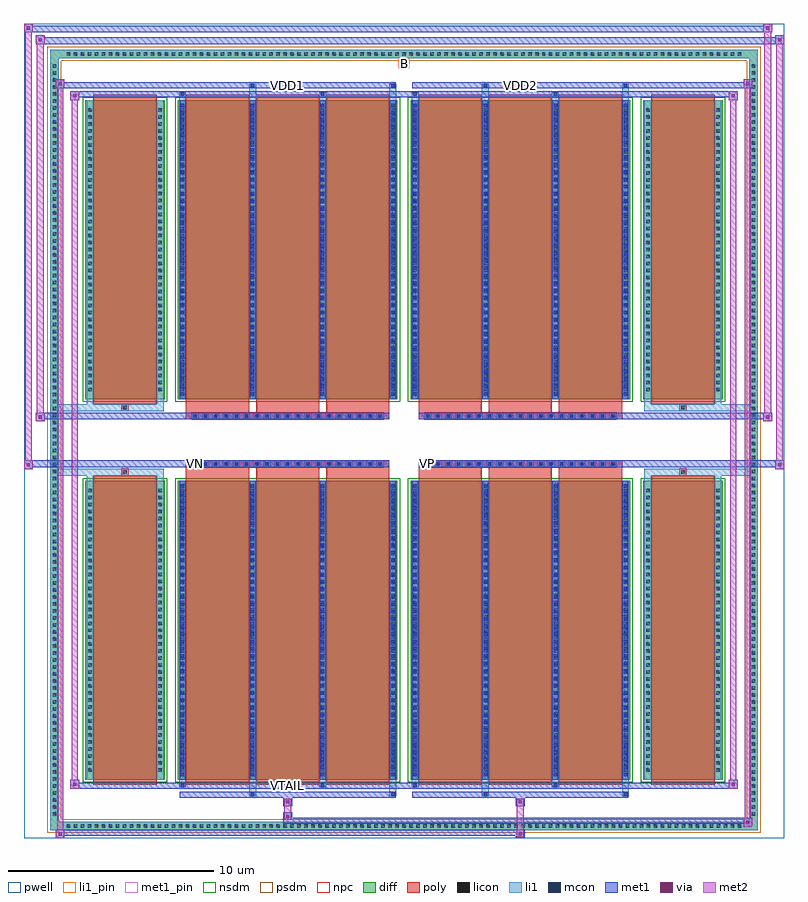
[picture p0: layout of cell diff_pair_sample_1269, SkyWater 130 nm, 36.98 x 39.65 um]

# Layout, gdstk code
import gdstk
lib = gdstk.Library(unit=1e-6, precision=5e-09)
def R(c, l, rs):  # rectangles x0, y0, x1, y1
    for r in rs: c.add(gdstk.rectangle(r[:2], r[2:], *l))
def A(c, l, x, y, w, h, nx, ny, dx, dy):  # array of equal rectangles
    R(c, l, [(x+i*dx, y+j*dy, x+i*dx+w, y+j*dy+h) for i in range(nx) for j in range(ny)])
def P(c, l, *ps):  # polygons
    for p in ps: c.add(gdstk.Polygon(p, *l))
pwell = (64, 44)
diff = (65, 20)
poly = (66, 20)
licon = (66, 44)
li1_pin = (67, 16)
li1 = (67, 20)
mcon = (67, 44)
met1_pin = (68, 16)
met1 = (68, 20)
via = (68, 44)
met2 = (69, 20)
nsdm = (93, 44)
psdm = (94, 20)
npc = (95, 20)

diff_pair_sample_1269 = lib.new_cell('diff_pair_sample_1269')
R(diff_pair_sample_1269, pwell, [(-18.49,-19.39,18.49,20.26), (-15.81,-17.58,-0.01,-0.8), (0.01,-17.58,15.81,-0.8), (-15.81,0.8,-0.01,17.58), (0.01,0.8,15.81,17.58)])
A(diff_pair_sample_1269, diff, -16.525, -18.99, 0.41, 0.41, 97, 2, 0.34, 37.57)
A(diff_pair_sample_1269, diff, -17.22, -18.395, 0.41, 0.41, 1, 108, 0, 0.34)
A(diff_pair_sample_1269, diff, 16.81, -18.395, 0.41, 0.41, 1, 108, 0, 0.34)
R(diff_pair_sample_1269, diff, [(-16.525,-18.99,16.525,-18.58), (-17.22,-18.395,-16.81,18.395), (16.81,-18.395,17.22,18.395), (-15.5,-16.535,-11.64,-1.985), (-11,-16.535,-0.32,-1.985), (0.32,-16.535,11,-1.985), (11.64,-16.535,15.5,-1.985), (-15.5,1.985,-11.64,16.535), (-11,1.985,-0.32,16.535), (0.32,1.985,11,16.535), (11.64,1.985,15.5,16.535), (-16.525,18.58,16.525,18.99)])
P(diff_pair_sample_1269, diff, [(17.22,18.99),(-17.22,18.99),(-17.22,-18.58),(-16.81,-18.58),(-16.81,18.58),(16.81,18.58),(16.81,-18.58),(-16.81,-18.58),(-17.22,-18.58),(-17.22,-18.99),(17.22,-18.99)])
A(diff_pair_sample_1269, poly, -10.61, -16.785, 3.08, 15.05, 3, 2, 3.41, 18.52)
A(diff_pair_sample_1269, poly, 0.71, -16.785, 3.08, 15.05, 3, 2, 3.41, 18.52)
A(diff_pair_sample_1269, poly, -10.61, -1.735, 3.08, 0.405, 3, 2, 3.41, 3.065)
A(diff_pair_sample_1269, poly, 0.71, -1.735, 3.08, 0.405, 3, 2, 3.41, 3.065)
A(diff_pair_sample_1269, poly, -10.325, -1.33, 0.33, 0.33, 19, 2, 0.5, 2.33)
A(diff_pair_sample_1269, poly, 0.995, -1.33, 0.33, 0.33, 19, 2, 0.5, 2.33)
R(diff_pair_sample_1269, poly, [(-15.11,-16.785,-12.03,-1.735), (12.03,-16.785,15.11,-1.735), (-13.735,-1.735,-13.405,-1.405), (-13.735,-1.735,-13.405,-1.405), (13.405,-1.735,13.735,-1.405), (13.405,-1.735,13.735,-1.405), (-10.61,-1.33,-0.71,-1), (0.71,-1.33,10.61,-1), (-10.61,1,-0.71,1.33), (0.71,1,10.61,1.33), (-13.735,1.405,-13.405,1.735), (-13.735,1.405,-13.405,1.735), (13.405,1.405,13.735,1.735), (13.405,1.405,13.735,1.735), (-15.11,1.735,-12.03,16.785), (12.03,1.735,15.11,16.785)])
A(diff_pair_sample_1269, licon, -16.405, -18.87, 0.17, 0.17, 97, 2, 0.34, 37.57)
A(diff_pair_sample_1269, licon, -17.1, -18.275, 0.17, 0.17, 1, 108, 0, 0.34)
A(diff_pair_sample_1269, licon, 16.93, -18.275, 0.17, 0.17, 1, 108, 0, 0.34)
A(diff_pair_sample_1269, licon, -15.36, -16.145, 0.17, 0.17, 1, 41, 0, 0.34)
A(diff_pair_sample_1269, licon, -11.95, -16.145, 0.17, 0.17, 1, 41, 0, 0.34)
A(diff_pair_sample_1269, licon, -10.86, -16.145, 0.17, 0.17, 4, 41, 3.41, 0.34)
A(diff_pair_sample_1269, licon, 0.46, -16.145, 0.17, 0.17, 4, 41, 3.41, 0.34)
A(diff_pair_sample_1269, licon, 11.78, -16.145, 0.17, 0.17, 1, 41, 0, 0.34)
A(diff_pair_sample_1269, licon, 15.19, -16.145, 0.17, 0.17, 1, 41, 0, 0.34)
A(diff_pair_sample_1269, licon, -10.245, -1.25, 0.17, 0.17, 19, 2, 0.5, 2.33)
A(diff_pair_sample_1269, licon, 1.075, -1.25, 0.17, 0.17, 19, 2, 0.5, 2.33)
A(diff_pair_sample_1269, licon, -15.36, 2.375, 0.17, 0.17, 1, 41, 0, 0.34)
A(diff_pair_sample_1269, licon, -11.95, 2.375, 0.17, 0.17, 1, 41, 0, 0.34)
A(diff_pair_sample_1269, licon, -10.86, 2.375, 0.17, 0.17, 4, 41, 3.41, 0.34)
A(diff_pair_sample_1269, licon, 0.46, 2.375, 0.17, 0.17, 4, 41, 3.41, 0.34)
A(diff_pair_sample_1269, licon, 11.78, 2.375, 0.17, 0.17, 1, 41, 0, 0.34)
A(diff_pair_sample_1269, licon, 15.19, 2.375, 0.17, 0.17, 1, 41, 0, 0.34)
R(diff_pair_sample_1269, licon, [(-13.655,-1.655,-13.485,-1.485), (13.485,-1.655,13.655,-1.485), (-13.655,1.485,-13.485,1.655), (13.485,1.485,13.655,1.655)])
R(diff_pair_sample_1269, li1_pin, [(-0.25,18.08,0.25,18.58)])
A(diff_pair_sample_1269, li1, -16.485, -18.95, 0.33, 0.33, 97, 2, 0.34, 37.57)
A(diff_pair_sample_1269, li1, -17.18, -18.355, 0.33, 0.33, 1, 108, 0, 0.34)
A(diff_pair_sample_1269, li1, 16.85, -18.355, 0.33, 0.33, 1, 108, 0, 0.34)
A(diff_pair_sample_1269, li1, -10.94, -16.535, 0.33, 14.55, 4, 2, 3.41, 18.52)
A(diff_pair_sample_1269, li1, 0.38, -16.535, 0.33, 14.55, 4, 2, 3.41, 18.52)
A(diff_pair_sample_1269, li1, -10.86, -16.365, 0.17, 0.17, 4, 40, 3.41, 0.36)
A(diff_pair_sample_1269, li1, -10.86, -16.365, 0.17, 14.21, 4, 2, 3.41, 18.52)
A(diff_pair_sample_1269, li1, 0.46, -16.365, 0.17, 0.17, 4, 40, 3.41, 0.36)
A(diff_pair_sample_1269, li1, 0.46, -16.365, 0.17, 14.21, 4, 2, 3.41, 18.52)
A(diff_pair_sample_1269, li1, -15.44, -16.225, 0.33, 0.33, 1, 41, 0, 0.34)
A(diff_pair_sample_1269, li1, -12.03, -16.225, 0.33, 0.33, 1, 41, 0, 0.34)
A(diff_pair_sample_1269, li1, -10.94, -16.225, 0.33, 0.33, 4, 41, 3.41, 0.34)
A(diff_pair_sample_1269, li1, 0.38, -16.225, 0.33, 0.33, 4, 41, 3.41, 0.34)
A(diff_pair_sample_1269, li1, 11.7, -16.225, 0.33, 0.33, 1, 41, 0, 0.34)
A(diff_pair_sample_1269, li1, 15.11, -16.225, 0.33, 0.33, 1, 41, 0, 0.34)
A(diff_pair_sample_1269, li1, -10.325, -1.33, 0.33, 0.33, 19, 2, 0.5, 2.33)
A(diff_pair_sample_1269, li1, 0.995, -1.33, 0.33, 0.33, 19, 2, 0.5, 2.33)
A(diff_pair_sample_1269, li1, -10.86, 2.155, 0.17, 0.17, 4, 40, 3.41, 0.36)
A(diff_pair_sample_1269, li1, 0.46, 2.155, 0.17, 0.17, 4, 40, 3.41, 0.36)
A(diff_pair_sample_1269, li1, -15.44, 2.295, 0.33, 0.33, 1, 41, 0, 0.34)
A(diff_pair_sample_1269, li1, -12.03, 2.295, 0.33, 0.33, 1, 41, 0, 0.34)
A(diff_pair_sample_1269, li1, -10.94, 2.295, 0.33, 0.33, 4, 41, 3.41, 0.34)
A(diff_pair_sample_1269, li1, 0.38, 2.295, 0.33, 0.33, 4, 41, 3.41, 0.34)
A(diff_pair_sample_1269, li1, 11.7, 2.295, 0.33, 0.33, 1, 41, 0, 0.34)
A(diff_pair_sample_1269, li1, 15.11, 2.295, 0.33, 0.33, 1, 41, 0, 0.34)
R(diff_pair_sample_1269, li1, [(-17.22,-18.99,-16.81,-18.58), (-17.22,-18.99,-16.81,-18.58), (-16.81,-18.99,16.81,-18.58), (16.81,-18.99,17.22,-18.58), (16.81,-18.99,17.22,-18.58), (-17.22,-18.58,-16.81,18.58), (16.81,-18.58,17.22,18.58), (-7.53,-17.34,-7.2,-16.535), (-7.45,-17.34,-7.28,-17.17), (-0.71,-17.34,-0.38,-16.535), (-0.63,-17.34,-0.46,-17.17), (3.79,-17.34,4.12,-16.535), (3.87,-17.34,4.04,-17.17), (10.61,-17.34,10.94,-16.535), (10.69,-17.34,10.86,-17.17), (-10.94,-16.91,-10.61,-16.535), (-10.86,-16.91,-10.69,-16.74), (-4.12,-16.91,-3.79,-16.535), (-4.04,-16.91,-3.87,-16.74), (0.38,-16.91,0.71,-16.535), (0.46,-16.91,0.63,-16.74), (7.2,-16.91,7.53,-16.535), (7.28,-16.91,7.45,-16.74), (-15.44,-16.535,-15.11,-1.985), (-12.03,-16.535,-11.7,-1.985), (11.7,-16.535,12.03,-1.985), (15.11,-16.535,15.44,-1.985), (-15.44,-1.985,-15.11,-1.405), (-12.03,-1.985,-11.7,-1.405), (11.7,-1.985,12.03,-1.405), (15.11,-1.985,15.44,-1.405), (-17.22,-1.735,-13.735,-1.405), (-15.44,-1.735,-13.735,-1.405), (-13.735,-1.735,-13.405,-1.405), (-13.405,-1.735,-11.7,-1.405), (11.7,-1.735,13.405,-1.405), (13.405,-1.735,13.735,-1.405), (13.405,-1.735,17.22,-1.405), (13.735,-1.735,15.44,-1.405), (-17.22,1.405,-13.735,1.735), (-15.44,1.405,-13.735,1.735), (-15.44,1.405,-15.11,1.985), (-13.735,1.405,-13.405,1.735), (-13.405,1.405,-11.7,1.735), (-12.03,1.405,-11.7,1.985), (11.7,1.405,13.405,1.735), (11.7,1.405,12.03,1.985), (13.405,1.405,13.735,1.735), (13.405,1.405,17.22,1.735), (13.735,1.405,15.44,1.735), (15.11,1.405,15.44,1.985), (-15.44,1.985,-15.11,16.535), (-12.03,1.985,-11.7,16.535), (11.7,1.985,12.03,16.535), (15.11,1.985,15.44,16.535), (-10.94,16.535,-10.61,16.91), (-7.53,16.535,-7.2,17.34), (-4.12,16.535,-3.79,16.91), (-0.71,16.535,-0.38,17.34), (0.38,16.535,0.71,16.91), (3.79,16.535,4.12,17.34), (7.2,16.535,7.53,16.91), (10.61,16.535,10.94,17.34), (-10.86,16.74,-10.69,16.91), (-4.04,16.74,-3.87,16.91), (0.46,16.74,0.63,16.91), (7.28,16.74,7.45,16.91), (-7.45,17.17,-7.28,17.34), (-0.63,17.17,-0.46,17.34), (3.87,17.17,4.04,17.34), (10.69,17.17,10.86,17.34), (-17.22,18.58,-16.81,18.99), (-17.22,18.58,-16.81,18.99), (-16.81,18.58,16.81,18.99), (16.81,18.58,17.22,18.99), (16.81,18.58,17.22,18.99)])
A(diff_pair_sample_1269, mcon, -10.86, -16.365, 0.17, 0.17, 4, 40, 3.41, 0.36)
A(diff_pair_sample_1269, mcon, 0.46, -16.365, 0.17, 0.17, 4, 40, 3.41, 0.36)
A(diff_pair_sample_1269, mcon, -10.245, -1.25, 0.17, 0.17, 19, 2, 0.5, 2.33)
A(diff_pair_sample_1269, mcon, 1.075, -1.25, 0.17, 0.17, 19, 2, 0.5, 2.33)
A(diff_pair_sample_1269, mcon, -10.86, 2.155, 0.17, 0.17, 4, 40, 3.41, 0.36)
A(diff_pair_sample_1269, mcon, 0.46, 2.155, 0.17, 0.17, 4, 40, 3.41, 0.36)
R(diff_pair_sample_1269, mcon, [(-7.45,-17.34,-7.28,-17.17), (-0.63,-17.34,-0.46,-17.17), (3.87,-17.34,4.04,-17.17), (10.69,-17.34,10.86,-17.17), (-10.86,-16.91,-10.69,-16.74), (-4.04,-16.91,-3.87,-16.74), (0.46,-16.91,0.63,-16.74), (7.28,-16.91,7.45,-16.74), (-10.86,16.74,-10.69,16.91), (-4.04,16.74,-3.87,16.91), (0.46,16.74,0.63,16.91), (7.28,16.74,7.45,16.91), (-7.45,17.17,-7.28,17.34), (-0.63,17.17,-0.46,17.34), (3.87,17.17,4.04,17.34), (10.69,17.17,10.86,17.34)])
R(diff_pair_sample_1269, met1_pin, [(-5.795,-16.95,-5.525,-16.68), (-10.295,-1.29,-10.025,-1.02), (1.025,-1.29,1.295,-1.02), (-5.795,17.13,-5.525,17.4), (5.525,17.13,5.795,17.4)])
A(diff_pair_sample_1269, met1, -10.92, -16.535, 0.29, 14.55, 4, 2, 3.41, 18.52)
A(diff_pair_sample_1269, met1, 0.4, -16.535, 0.29, 14.55, 4, 2, 3.41, 18.52)
A(diff_pair_sample_1269, met1, -10.92, -16.425, 0.29, 0.29, 4, 40, 3.41, 0.36)
A(diff_pair_sample_1269, met1, 0.4, -16.425, 0.29, 0.29, 4, 40, 3.41, 0.36)
A(diff_pair_sample_1269, met1, -10.305, -1.31, 0.29, 0.29, 19, 2, 0.5, 2.33)
A(diff_pair_sample_1269, met1, 1.015, -1.31, 0.29, 0.29, 19, 2, 0.5, 2.33)
A(diff_pair_sample_1269, met1, -10.92, 2.095, 0.29, 0.29, 4, 40, 3.41, 0.36)
A(diff_pair_sample_1269, met1, 0.4, 2.095, 0.29, 0.29, 4, 40, 3.41, 0.36)
R(diff_pair_sample_1269, met1, [(-16.95,-19.39,-16.52,-18.96), (5.445,-19.39,5.875,-18.96), (-16.95,-19.25,5.875,-18.96), (16.52,-18.82,16.95,-18.39), (-5.875,-18.68,16.95,-18.39), (-5.875,-18.54,-5.445,-18.11), (-5.875,-17.83,-5.445,-17.4), (5.445,-17.83,5.875,-17.4), (-10.92,-17.4,-0.4,-17.11), (-7.51,-17.4,-7.22,-17.11), (-0.69,-17.4,-0.4,-17.11), (0.4,-17.4,10.92,-17.11), (3.81,-17.4,4.1,-17.11), (10.63,-17.4,10.92,-17.11), (-16.24,-16.97,-15.81,-16.54), (-16.24,-16.97,-10.92,-16.68), (-10.92,-16.97,-10.63,-16.68), (-10.92,-16.97,-0.4,-16.68), (-4.1,-16.97,-3.81,-16.68), (-0.4,-16.97,0.4,-16.68), (0.4,-16.97,0.69,-16.68), (0.4,-16.97,10.92,-16.68), (7.22,-16.97,7.51,-16.68), (10.92,-16.97,16.24,-16.68), (15.81,-16.97,16.24,-16.54), (-18.49,-1.43,-18.06,-1), (18.06,-1.43,18.49,-1), (-18.49,-1.33,-0.71,-1), (-10.61,-1.33,-0.71,-1), (0.71,-1.33,10.61,-1), (0.71,-1.33,18.49,-1), (-17.92,0.9,-17.49,1.33), (17.49,0.9,17.92,1.33), (-17.92,1,-10.61,1.33), (-10.61,1,-0.71,1.33), (0.71,1,10.61,1.33), (10.61,1,17.92,1.33), (-16.24,16.54,-15.81,16.97), (15.81,16.54,16.24,16.97), (-16.24,16.68,-10.92,16.97), (-10.92,16.68,-10.63,16.97), (-10.92,16.68,-0.4,16.97), (-4.1,16.68,-3.81,16.97), (-0.4,16.68,0.4,16.97), (0.4,16.68,0.69,16.97), (0.4,16.68,10.92,16.97), (7.22,16.68,7.51,16.97), (10.92,16.68,16.24,16.97), (-16.95,17.11,-16.52,17.54), (-16.95,17.11,-10.92,17.4), (-10.92,17.11,-0.4,17.4), (-7.51,17.11,-7.22,17.4), (-0.69,17.11,-0.4,17.4), (0.4,17.11,10.92,17.4), (3.81,17.11,4.1,17.4), (10.63,17.11,10.92,17.4), (10.92,17.11,16.95,17.4), (16.52,17.11,16.95,17.54), (-17.92,19.26,-17.49,19.69), (-17.92,19.26,-15.81,19.59), (-15.81,19.26,15.81,19.59), (15.81,19.26,18.49,19.59), (18.06,19.26,18.49,19.69), (-18.49,19.83,-18.06,20.26), (-18.49,19.83,-15.81,20.16), (-15.81,19.83,15.81,20.16), (15.81,19.83,17.92,20.16), (17.49,19.83,17.92,20.26)])
R(diff_pair_sample_1269, via, [(-16.81,-19.25,-16.66,-19.1), (5.585,-19.25,5.735,-19.1), (16.66,-18.68,16.81,-18.53), (-5.735,-18.4,-5.585,-18.25), (-5.735,-17.69,-5.585,-17.54), (5.585,-17.69,5.735,-17.54), (-16.1,-16.83,-15.95,-16.68), (15.95,-16.83,16.1,-16.68), (-18.35,-1.29,-18.2,-1.14), (18.2,-1.29,18.35,-1.14), (-17.78,1.04,-17.63,1.19), (17.63,1.04,17.78,1.19), (-16.1,16.68,-15.95,16.83), (15.95,16.68,16.1,16.83), (-16.81,17.25,-16.66,17.4), (16.66,17.25,16.81,17.4), (-17.78,19.4,-17.63,19.55), (18.2,19.4,18.35,19.55), (-18.35,19.97,-18.2,20.12), (17.63,19.97,17.78,20.12)])
R(diff_pair_sample_1269, met2, [(-16.95,-19.39,-16.52,-18.96), (-16.88,-19.39,-16.59,17.54), (-16.59,-19.39,-16.52,-18.96), (-16.9,-19.34,-16.57,-19.01), (5.495,-19.34,5.825,-19.01), (5.495,-19.01,5.825,-17.78), (16.52,-18.82,16.95,-18.39), (16.59,-18.82,16.88,17.54), (16.88,-18.82,16.95,-18.39), (16.57,-18.77,16.9,-18.44), (-5.825,-18.49,-5.495,-18.16), (-5.825,-18.16,-5.495,-17.78), (-5.825,-17.78,-5.495,-17.45), (5.495,-17.78,5.825,-17.45), (-16.24,-16.97,-15.81,-16.54), (-16.17,-16.97,-15.88,16.97), (-15.88,-16.97,-15.81,-16.54), (15.81,-16.97,16.24,-16.54), (15.88,-16.97,16.17,16.97), (16.17,-16.97,16.24,-16.54), (-16.19,-16.92,-15.86,-16.59), (15.86,-16.92,16.19,-16.59), (-18.49,-1.43,-18.06,-1), (-18.44,-1.43,-18.11,20.26), (-18.11,-1.43,-18.06,-1), (18.06,-1.43,18.49,-1), (18.11,-1.43,18.44,19.69), (18.44,-1.43,18.49,-1), (-18.44,-1.38,-18.11,-1.05), (18.11,-1.38,18.44,-1.05), (-17.92,0.9,-17.49,1.33), (-17.87,0.9,-17.54,19.69), (-17.54,0.9,-17.49,1.33), (17.49,0.9,17.92,1.33), (17.54,0.9,17.87,20.26), (17.87,0.9,17.92,1.33), (-17.87,0.95,-17.54,1.28), (17.54,0.95,17.87,1.28), (-16.24,16.54,-15.81,16.97), (-15.88,16.54,-15.81,16.97), (15.81,16.54,16.24,16.97), (16.17,16.54,16.24,16.97), (-16.19,16.59,-15.86,16.92), (15.86,16.59,16.19,16.92), (-16.95,17.11,-16.52,17.54), (-16.59,17.11,-16.52,17.54), (16.52,17.11,16.95,17.54), (16.88,17.11,16.95,17.54), (-16.9,17.16,-16.57,17.49), (16.57,17.16,16.9,17.49), (-17.92,19.26,-17.49,19.69), (-17.54,19.26,-17.49,19.69), (18.06,19.26,18.49,19.69), (18.44,19.26,18.49,19.69), (-17.87,19.31,-17.54,19.64), (18.11,19.31,18.44,19.64), (-18.49,19.83,-18.06,20.26), (-18.11,19.83,-18.06,20.26), (17.49,19.83,17.92,20.26), (17.87,19.83,17.92,20.26), (-18.44,19.88,-18.11,20.21), (17.54,19.88,17.87,20.21)])
R(diff_pair_sample_1269, nsdm, [(-15.63,-16.665,-11.51,-1.855), (-11.13,-16.665,-0.19,-1.855), (0.19,-16.665,11.13,-1.855), (11.51,-16.665,15.63,-1.855), (-15.63,1.855,-11.51,16.665), (-11.13,1.855,-0.19,16.665), (0.19,1.855,11.13,16.665), (11.51,1.855,15.63,16.665)])
P(diff_pair_sample_1269, psdm, [(17.35,19.12),(-17.35,19.12),(-17.35,-18.45),(-16.68,-18.45),(-16.68,18.45),(16.68,18.45),(16.68,-18.45),(-16.68,-18.45),(-17.35,-18.45),(-17.35,-19.12),(17.35,-19.12)])
A(diff_pair_sample_1269, npc, -10.345, -1.35, 0.37, 0.37, 19, 2, 0.5, 2.33)
A(diff_pair_sample_1269, npc, 0.975, -1.35, 0.37, 0.37, 19, 2, 0.5, 2.33)
R(diff_pair_sample_1269, npc, [(-13.755,-1.755,-13.385,-1.385), (13.385,-1.755,13.755,-1.385), (-10.345,-1.35,-9.475,-0.98), (-10.345,-1.35,-9.475,-0.98), (-9.845,-1.35,-8.975,-0.98), (-9.845,-1.35,-8.975,-0.98), (-9.345,-1.35,-8.475,-0.98), (-9.345,-1.35,-8.475,-0.98), (-8.845,-1.35,-7.975,-0.98), (-8.845,-1.35,-7.975,-0.98), (-8.345,-1.35,-7.475,-0.98), (-8.345,-1.35,-7.475,-0.98), (-7.845,-1.35,-6.975,-0.98), (-7.845,-1.35,-6.975,-0.98), (-7.345,-1.35,-6.475,-0.98), (-7.345,-1.35,-6.475,-0.98), (-6.845,-1.35,-5.975,-0.98), (-6.845,-1.35,-5.975,-0.98), (-6.345,-1.35,-5.475,-0.98), (-6.345,-1.35,-5.475,-0.98), (-5.845,-1.35,-4.975,-0.98), (-5.845,-1.35,-4.975,-0.98), (-5.345,-1.35,-4.475,-0.98), (-5.345,-1.35,-4.475,-0.98), (-4.845,-1.35,-3.975,-0.98), (-4.845,-1.35,-3.975,-0.98), (-4.345,-1.35,-3.475,-0.98), (-4.345,-1.35,-3.475,-0.98), (-3.845,-1.35,-2.975,-0.98), (-3.845,-1.35,-2.975,-0.98), (-3.345,-1.35,-2.475,-0.98), (-3.345,-1.35,-2.475,-0.98), (-2.845,-1.35,-1.975,-0.98), (-2.845,-1.35,-1.975,-0.98), (-2.345,-1.35,-1.475,-0.98), (-2.345,-1.35,-1.475,-0.98), (-1.845,-1.35,-0.975,-0.98), (-1.845,-1.35,-0.975,-0.98), (0.975,-1.35,1.845,-0.98), (0.975,-1.35,1.845,-0.98), (1.475,-1.35,2.345,-0.98), (1.475,-1.35,2.345,-0.98), (1.975,-1.35,2.845,-0.98), (1.975,-1.35,2.845,-0.98), (2.475,-1.35,3.345,-0.98), (2.475,-1.35,3.345,-0.98), (2.975,-1.35,3.845,-0.98), (2.975,-1.35,3.845,-0.98), (3.475,-1.35,4.345,-0.98), (3.475,-1.35,4.345,-0.98), (3.975,-1.35,4.845,-0.98), (3.975,-1.35,4.845,-0.98), (4.475,-1.35,5.345,-0.98), (4.475,-1.35,5.345,-0.98), (4.975,-1.35,5.845,-0.98), (4.975,-1.35,5.845,-0.98), (5.475,-1.35,6.345,-0.98), (5.475,-1.35,6.345,-0.98), (5.975,-1.35,6.845,-0.98), (5.975,-1.35,6.845,-0.98), (6.475,-1.35,7.345,-0.98), (6.475,-1.35,7.345,-0.98), (6.975,-1.35,7.845,-0.98), (6.975,-1.35,7.845,-0.98), (7.475,-1.35,8.345,-0.98), (7.475,-1.35,8.345,-0.98), (7.975,-1.35,8.845,-0.98), (7.975,-1.35,8.845,-0.98), (8.475,-1.35,9.345,-0.98), (8.475,-1.35,9.345,-0.98), (8.975,-1.35,9.845,-0.98), (8.975,-1.35,9.845,-0.98), (9.475,-1.35,10.345,-0.98), (9.475,-1.35,10.345,-0.98), (-10.345,0.98,-9.475,1.35), (-10.345,0.98,-9.475,1.35), (-9.845,0.98,-8.975,1.35), (-9.845,0.98,-8.975,1.35), (-9.345,0.98,-8.475,1.35), (-9.345,0.98,-8.475,1.35), (-8.845,0.98,-7.975,1.35), (-8.845,0.98,-7.975,1.35), (-8.345,0.98,-7.475,1.35), (-8.345,0.98,-7.475,1.35), (-7.845,0.98,-6.975,1.35), (-7.845,0.98,-6.975,1.35), (-7.345,0.98,-6.475,1.35), (-7.345,0.98,-6.475,1.35), (-6.845,0.98,-5.975,1.35), (-6.845,0.98,-5.975,1.35), (-6.345,0.98,-5.475,1.35), (-6.345,0.98,-5.475,1.35), (-5.845,0.98,-4.975,1.35), (-5.845,0.98,-4.975,1.35), (-5.345,0.98,-4.475,1.35), (-5.345,0.98,-4.475,1.35), (-4.845,0.98,-3.975,1.35), (-4.845,0.98,-3.975,1.35), (-4.345,0.98,-3.475,1.35), (-4.345,0.98,-3.475,1.35), (-3.845,0.98,-2.975,1.35), (-3.845,0.98,-2.975,1.35), (-3.345,0.98,-2.475,1.35), (-3.345,0.98,-2.475,1.35), (-2.845,0.98,-1.975,1.35), (-2.845,0.98,-1.975,1.35), (-2.345,0.98,-1.475,1.35), (-2.345,0.98,-1.475,1.35), (-1.845,0.98,-0.975,1.35), (-1.845,0.98,-0.975,1.35), (0.975,0.98,1.845,1.35), (0.975,0.98,1.845,1.35), (1.475,0.98,2.345,1.35), (1.475,0.98,2.345,1.35), (1.975,0.98,2.845,1.35), (1.975,0.98,2.845,1.35), (2.475,0.98,3.345,1.35), (2.475,0.98,3.345,1.35), (2.975,0.98,3.845,1.35), (2.975,0.98,3.845,1.35), (3.475,0.98,4.345,1.35), (3.475,0.98,4.345,1.35), (3.975,0.98,4.845,1.35), (3.975,0.98,4.845,1.35), (4.475,0.98,5.345,1.35), (4.475,0.98,5.345,1.35), (4.975,0.98,5.845,1.35), (4.975,0.98,5.845,1.35), (5.475,0.98,6.345,1.35), (5.475,0.98,6.345,1.35), (5.975,0.98,6.845,1.35), (5.975,0.98,6.845,1.35), (6.475,0.98,7.345,1.35), (6.475,0.98,7.345,1.35), (6.975,0.98,7.845,1.35), (6.975,0.98,7.845,1.35), (7.475,0.98,8.345,1.35), (7.475,0.98,8.345,1.35), (7.975,0.98,8.845,1.35), (7.975,0.98,8.845,1.35), (8.475,0.98,9.345,1.35), (8.475,0.98,9.345,1.35), (8.975,0.98,9.845,1.35), (8.975,0.98,9.845,1.35), (9.475,0.98,10.345,1.35), (9.475,0.98,10.345,1.35), (-13.755,1.385,-13.385,1.755), (13.385,1.385,13.755,1.755)])
diff_pair_sample_1269.add(gdstk.Label('VTAIL', (-5.66,-16.815), layer=68, texttype=5))
diff_pair_sample_1269.add(gdstk.Label('VN', (-10.16,-1.155), layer=68, texttype=5))
diff_pair_sample_1269.add(gdstk.Label('VP', (1.16,-1.155), layer=68, texttype=5))
diff_pair_sample_1269.add(gdstk.Label('B', (0,18.33), layer=67, texttype=5))
diff_pair_sample_1269.add(gdstk.Label('VDD2', (5.66,17.265), layer=68, texttype=5))
diff_pair_sample_1269.add(gdstk.Label('VDD1', (-5.66,17.265), layer=68, texttype=5))

lib.write_gds('diff_pair_sample_1269.gds')
